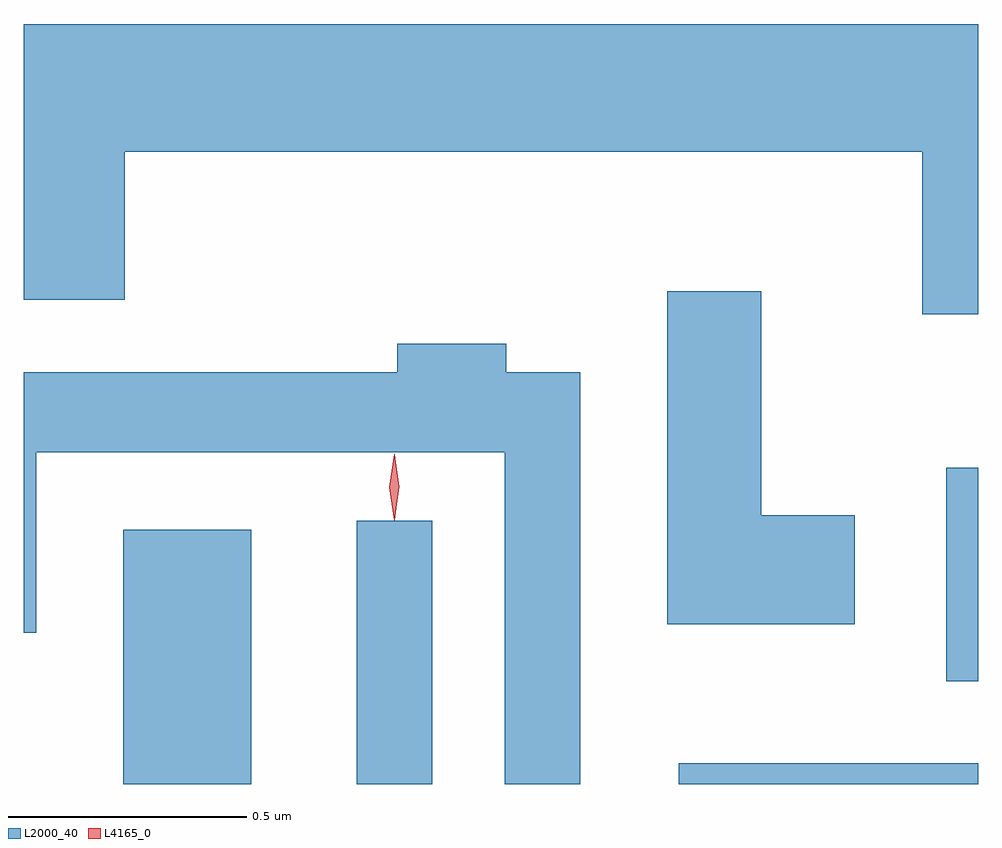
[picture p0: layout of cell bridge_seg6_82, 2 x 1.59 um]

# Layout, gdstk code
import gdstk
lib = gdstk.Library(unit=1e-6, precision=1e-09)
def R(c, l, rs):  # rectangles x0, y0, x1, y1
    for r in rs: c.add(gdstk.rectangle(r[:2], r[2:], *l))
def P(c, l, *ps):  # polygons
    for p in ps: c.add(gdstk.Polygon(p, *l))
L2000_40 = (2000, 40)
L4165_0 = (4165, 0)

bridge_seg6_82 = lib.new_cell('bridge_seg6_82')
R(bridge_seg6_82, L2000_40, [(1286.786,1657.491,1287.054,1658.024), (1287.276,1657.491,1287.434,1658.043), (1287.951,1657.491,1288.578,1657.534), (1288.511,1657.706,1288.578,1658.154)])
P(bridge_seg6_82, L2000_40, [(1288.578,1659.084),(1286.578,1659.084),(1286.578,1658.506),(1286.789,1658.506),(1286.789,1658.816),(1288.461,1658.816),(1288.461,1658.476),(1288.578,1658.476)],
  [(1288.319,1658.054),(1288.124,1658.054),(1288.124,1658.524),(1287.926,1658.524),(1287.926,1657.826),(1288.319,1657.826)],
  [(1287.744,1658.354),(1287.589,1658.354),(1287.589,1658.414),(1287.361,1658.414),(1287.361,1658.354),(1286.578,1658.354),(1286.578,1657.808),(1286.604,1657.808),(1286.604,1658.186),(1287.586,1658.186),(1287.586,1657.491),(1287.744,1657.491)])
P(bridge_seg6_82, L4165_0, [(1287.355,1658.047),(1287.354,1658.048),(1287.345,1658.114),(1287.354,1658.18),(1287.355,1658.181),(1287.355,1658.18),(1287.365,1658.114),(1287.355,1658.048)],
  [(1287.354,1658.044),(1287.354,1658.044),(1287.344,1658.113),(1287.354,1658.182),(1287.354,1658.183),(1287.355,1658.182),(1287.364,1658.113),(1287.355,1658.044)])

lib.write_gds('bridge_seg6_82.gds')
